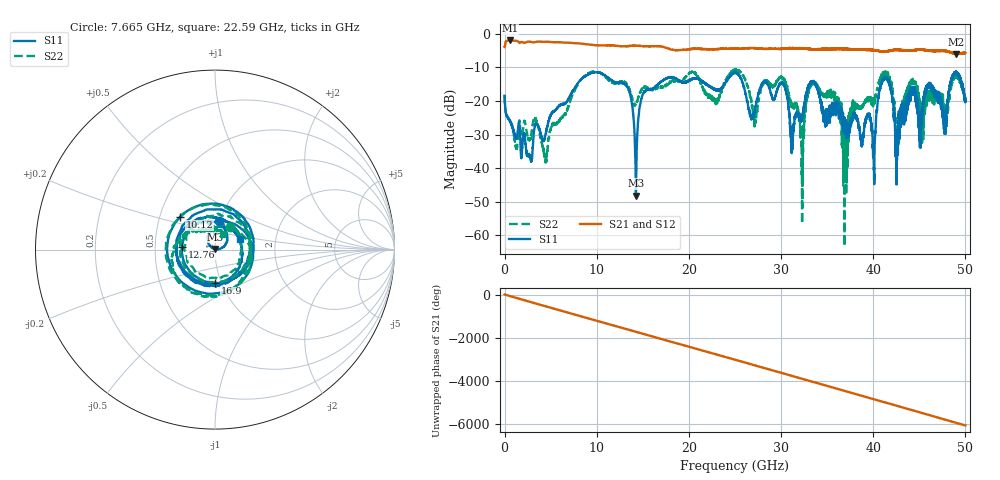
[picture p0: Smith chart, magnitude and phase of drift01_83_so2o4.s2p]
!Created with skrf (http://scikit-rf.org).
# Hz S RI R 50.0
!freq ReS11 ImS11 ReS21 ImS21 ReS12 ImS12 ReS22 ImS22
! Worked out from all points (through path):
!   10001 points, 300 kHz to 50 GHz, reference 50 ohm
!   highest |S21| = -1.99 dB at 575.3 MHz (marker M1); lowest = -6.0 dB at 48.98 GHz (marker M2)
!   group delay of S21, straight-line fit = 336 ps
!   lowest |S11| = -48.1 dB at 14.25 GHz (marker M3), VSWR 1.01, Z = 50.1 + j0.387 ohm
!   |S11| at or under -10 dB: start of sweep to end of sweep
!   |S22| runs from -63.2 to -10.6 dB; largest |S21 - S12| = 0.02
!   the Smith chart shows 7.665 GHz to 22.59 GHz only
!   S11 on the Smith chart (normalised r, x): 7.665 GHz: 1.00, +0.32; 10.12 GHz: 0.64, +0.25; 12.76 GHz: 0.69, +0.02; 16.9 GHz: 0.93, -0.36; 22.59 GHz: 1.32, +0.16
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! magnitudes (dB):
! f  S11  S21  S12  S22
! 300 kHz  -18.5  -4.0  -4.1  -18.3
! 575.3 MHz  -26.0  -2.0  -2.0  -25.9
! 4.445 GHz  -29.9  -2.4  -2.4  -38.0
! 7.665 GHz  -15.9  -2.8  -2.8  -16.5
! 8.335 GHz  -13.5  -2.9  -2.9  -13.5
! 10.12 GHz  -11.5  -3.4  -3.4  -11.4
! 12.76 GHz  -14.6  -3.7  -3.7  -14.3
! 14.25 GHz  -48.1  -3.6  -3.6  -21.1
! 16.67 GHz  -14.9  -3.7  -3.7  -15.9
! 16.9 GHz  -14.5  -3.7  -3.7  -16.0
! 22.59 GHz  -16.3  -4.6  -4.6  -20.1
! 25 GHz  -11.5  -4.5  -4.5  -11.0
! 27.18 GHz  -22.2  -4.3  -4.3  -25.5
! 30.25 GHz  -14.9  -4.5  -4.5  -13.4
! 32.28 GHz  -24.8  -4.3  -4.3  -56.5
! 33.34 GHz  -14.2  -4.6  -4.6  -14.9
! 36.98 GHz  -29.9  -4.5  -4.5  -29.3
! 40.05 GHz  -37.3  -4.8  -4.9  -19.6
! 41.67 GHz  -13.8  -5.0  -5.1  -13.4
! 42.61 GHz  -30.2  -4.8  -4.8  -31.9
! 48.98 GHz  -11.2  -6.0  -6.0  -12.5
! 50 GHz  -19.7  -5.7  -5.7  -19.2
